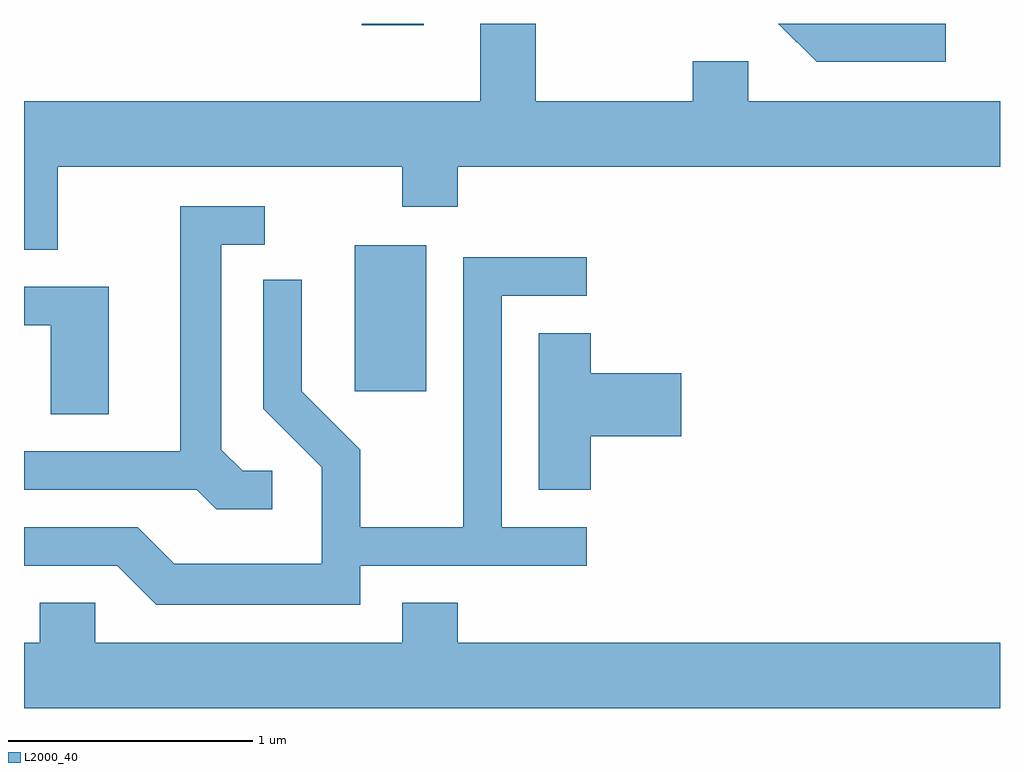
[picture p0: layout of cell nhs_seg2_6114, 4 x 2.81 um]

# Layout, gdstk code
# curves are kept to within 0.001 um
import gdstk
lib = gdstk.Library(unit=1e-6, precision=1e-09)
def R(c, l, rs):  # rectangles x0, y0, x1, y1
    for r in rs: c.add(gdstk.rectangle(r[:2], r[2:], *l))
def P(c, l, *ps):  # polygons
    for p in ps: c.add(gdstk.Polygon(p, *l))
L2000_40 = (2000, 40)

nhs_seg2_6114 = lib.new_cell('nhs_seg2_6114')
R(nhs_seg2_6114, L2000_40, [(366.966,1036.296,367.259,1036.894), (366.996,1037.796,367.249,1037.802), (369.551,1037.801,369.611,1037.802)])
P(nhs_seg2_6114, L2000_40, [(365.749,1037.216),(367.161,1037.216),(367.161,1037.051),(367.389,1037.051),(367.389,1037.216),(369.611,1037.216),(369.611,1037.484),(368.579,1037.484),(368.579,1037.649),(368.351,1037.649),(368.351,1037.484),(367.709,1037.484),(367.709,1037.802),(367.481,1037.802),(367.481,1037.484),(365.611,1037.484),(365.611,1036.876),(365.749,1036.876)],
  [(369.388,1037.802),(368.703,1037.802),(368.859,1037.646),(369.388,1037.646)],
  [(366.628,1035.969),(366.507,1035.969),(366.419,1036.056),(366.419,1036.896),(366.598,1036.896),(366.598,1037.054),(366.251,1037.054),(366.251,1036.049),(365.611,1036.049),(365.611,1035.891),(366.319,1035.891),(366.399,1035.811),(366.628,1035.811)],
  [(366.989,1035.581),(367.918,1035.581),(367.918,1035.739),(367.569,1035.739),(367.569,1036.686),(367.918,1036.686),(367.918,1036.844),(367.411,1036.844),(367.411,1035.739),(366.989,1035.739),(366.989,1036.056),(366.749,1036.296),(366.749,1036.753),(366.591,1036.753),(366.591,1036.224),(366.831,1035.984),(366.831,1035.589),(366.227,1035.589),(366.077,1035.739),(365.611,1035.739),(365.611,1035.58),(365.994,1035.581),(366.154,1035.421),(366.989,1035.421)],
  [(365.959,1036.724),(365.611,1036.724),(365.611,1036.566),(365.721,1036.566),(365.721,1036.201),(365.959,1036.201)],
  [(367.934,1036.111),(368.304,1036.111),(368.304,1036.369),(367.934,1036.369),(367.934,1036.534),(367.721,1036.534),(367.721,1035.891),(367.934,1035.891)],
  [(369.611,1035.264),(367.389,1035.264),(367.389,1035.429),(367.161,1035.429),(367.161,1035.264),(365.904,1035.264),(365.904,1035.429),(365.676,1035.429),(365.676,1035.264),(365.611,1035.264),(365.611,1034.996),(369.611,1034.996)])

lib.write_gds('nhs_seg2_6114.gds')
